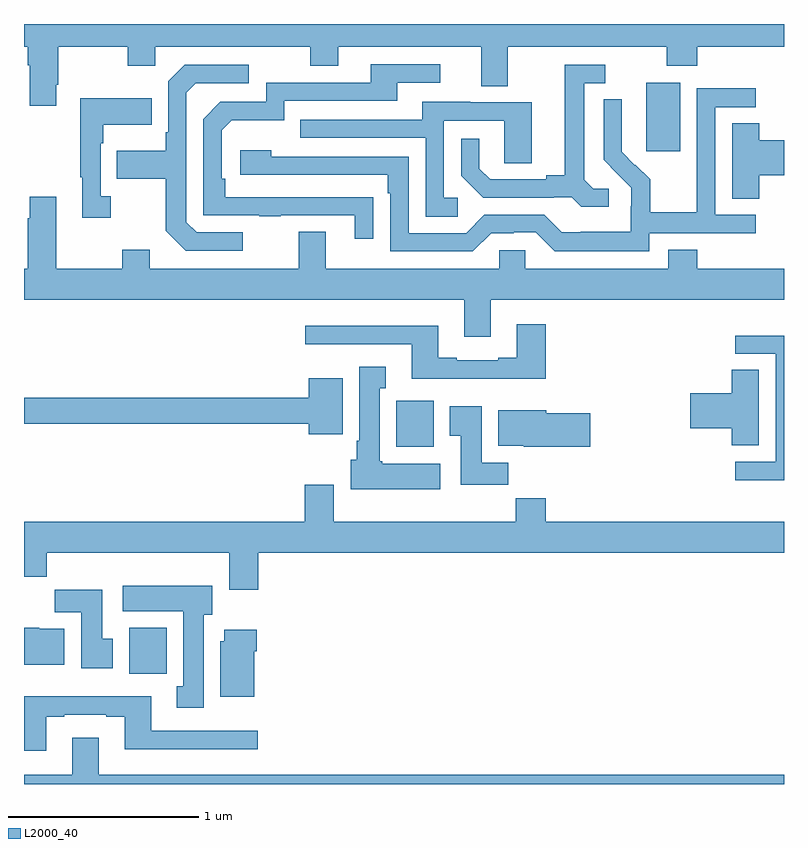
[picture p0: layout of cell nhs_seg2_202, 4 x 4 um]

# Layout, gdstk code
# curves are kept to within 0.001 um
import gdstk
lib = gdstk.Library(unit=1e-6, precision=1e-09)
def R(c, l, rs):  # rectangles x0, y0, x1, y1
    for r in rs: c.add(gdstk.rectangle(r[:2], r[2:], *l))
def P(c, l, *ps):  # polygons
    for p in ps: c.add(gdstk.Polygon(p, *l))
L2000_40 = (2000, 40)

nhs_seg2_202 = lib.new_cell('nhs_seg2_202')
R(nhs_seg2_202, L2000_40, [(121.553,600.38,121.75,600.622), (122.96,601.574,123.157,601.816), (124.274,603.129,124.453,603.49)])
P(nhs_seg2_202, L2000_40, [(121.171,603.481),(121.179,603.481),(121.179,603.68),(121.546,603.68),(121.546,603.581),(121.692,603.581),(121.692,603.68),(122.506,603.68),(122.506,603.581),(122.653,603.581),(122.653,603.68),(123.407,603.68),(123.407,603.472),(123.547,603.472),(123.547,603.68),(124.384,603.68),(124.384,603.581),(124.544,603.581),(124.544,603.68),(125,603.68),(125,603.8),(121,603.8),(121,603.68),(121.019,603.68),(121.019,603.584),(121.031,603.584),(121.031,603.369),(121.171,603.369)],
  [(122.837,602.888),(122.06,602.889),(122.06,602.986),(122.04,602.986),(122.04,603.24),(122.093,603.293),(122.37,603.293),(122.37,603.396),(122.965,603.396),(122.965,603.492),(123.19,603.492),(123.19,603.588),(122.825,603.588),(122.825,603.492),(122.274,603.492),(122.274,603.39),(122.034,603.39),(121.944,603.3),(121.944,602.793),(122.239,602.793),(122.239,602.788),(122.351,602.788),(122.351,602.793),(122.741,602.793),(122.741,602.67),(122.837,602.67)],
  [(124.078,602.934),(123.996,602.934),(123.949,602.981),(123.949,603.489),(124.06,603.489),(124.06,603.585),(123.845,603.585),(123.845,603.005),(123.749,603.005),(123.749,602.982),(123.454,602.982),(123.397,603.039),(123.397,603.196),(123.3,603.196),(123.3,603.002),(123.416,602.886),(123.788,602.886),(123.788,602.889),(123.882,602.889),(123.934,602.837),(124.078,602.837)],
  [(122.152,602.703),(121.908,602.703),(121.854,602.757),(121.854,603.438),(121.905,603.489),(122.182,603.489),(122.182,603.585),(121.845,603.585),(121.758,603.498),(121.758,603.229),(121.746,603.229),(121.746,603.133),(121.489,603.133),(121.489,602.986),(121.746,602.986),(121.746,602.713),(121.851,602.607),(122.152,602.607)],
  [(124.29,602.7),(124.852,602.7),(124.852,602.796),(124.638,602.796),(124.638,603.363),(124.852,603.363),(124.852,603.462),(124.542,603.462),(124.542,603.032),(124.54,603.032),(124.54,602.809),(124.295,602.809),(124.295,602.983),(124.218,603.06),(124.215,603.057),(124.145,603.128),(124.146,603.404),(124.05,603.404),(124.05,603.086),(124.196,602.938),(124.196,602.841),(124.194,602.841),(124.194,602.707),(123.931,602.707),(123.931,602.703),(123.831,602.703),(123.738,602.796),(123.423,602.796),(123.327,602.7),(123.024,602.7),(123.024,603.102),(122.3,603.102),(122.3,603.136),(122.139,603.136),(122.139,603.006),(122.915,603.006),(122.915,602.909),(122.928,602.909),(122.928,602.604),(123.363,602.604),(123.459,602.7),(123.578,602.7),(123.578,602.703),(123.693,602.703),(123.793,602.603),(124.29,602.603)],
  [(121.456,602.894),(121.404,602.894),(121.404,603.173),(121.417,603.173),(121.417,603.269),(121.673,603.269),(121.673,603.409),(121.296,603.409),(121.296,602.993),(121.307,602.993),(121.307,602.781),(121.456,602.781)],
  [(123.283,602.886),(123.21,602.886),(123.21,603.291),(123.528,603.291),(123.528,603.067),(123.673,603.067),(123.673,603.387),(123.349,603.387),(123.349,603.391),(123.095,603.391),(123.095,603.297),(122.455,603.297),(122.455,603.201),(123.114,603.201),(123.114,602.785),(123.283,602.785)],
  [(124.871,603.005),(125,603.005),(125,603.188),(124.871,603.188),(124.871,603.278),(124.727,603.278),(124.727,602.881),(124.871,602.881)],
  [(123.457,602.348),(125,602.348),(125,602.512),(124.544,602.512),(124.544,602.611),(124.391,602.611),(124.391,602.512),(123.639,602.512),(123.639,602.61),(123.501,602.61),(123.501,602.512),(122.587,602.512),(122.587,602.707),(122.447,602.707),(122.447,602.512),(121.663,602.512),(121.663,602.611),(121.516,602.611),(121.516,602.512),(121.171,602.512),(121.171,602.89),(121.031,602.89),(121.031,602.777),(121.019,602.777),(121.019,602.512),(121,602.512),(121,602.348),(123.317,602.348),(123.317,602.154),(123.457,602.154)],
  [(123.746,602.221),(123.593,602.221),(123.593,602.044),(123.497,602.044),(123.497,602.031),(123.277,602.031),(123.277,602.044),(123.181,602.044),(123.181,602.212),(122.481,602.212),(122.481,602.115),(123.041,602.115),(123.041,601.934),(123.746,601.934)],
  [(125,602.16),(124.743,602.16),(124.743,602.064),(124.956,602.064),(124.956,601.497),(124.743,601.497),(124.743,601.399),(125,601.399)],
  [(123.19,601.486),(122.886,601.486),(122.886,601.5),(122.872,601.5),(122.872,601.883),(122.905,601.883),(122.905,601.996),(122.765,601.996),(122.765,601.606),(122.75,601.606),(122.75,601.506),(122.72,601.506),(122.72,601.352),(123.19,601.352)],
  [(124.867,601.979),(124.724,601.979),(124.724,601.856),(124.506,601.856),(124.506,601.673),(124.724,601.673),(124.724,601.582),(124.867,601.582)],
  [(122.677,601.936),(122.498,601.936),(122.498,601.832),(121,601.832),(121,601.696),(122.498,601.696),(122.498,601.64),(122.677,601.64)],
  [(123.548,601.492),(123.409,601.492),(123.409,601.789),(123.242,601.789),(123.242,601.633),(123.299,601.633),(123.299,601.374),(123.548,601.374)],
  [(123.979,601.751),(123.748,601.751),(123.748,601.768),(123.497,601.768),(123.497,601.58),(123.63,601.58),(123.63,601.574),(123.979,601.574)],
  [(122.234,601.016),(125,601.016),(125,601.18),(123.746,601.18),(123.746,601.304),(123.589,601.304),(123.589,601.18),(122.629,601.18),(122.629,601.375),(122.477,601.375),(122.477,601.18),(121,601.18),(121,600.892),(121.121,600.892),(121.121,601.016),(122.081,601.016),(122.081,600.822),(122.234,600.822)],
  [(121.945,600.69),(121.99,600.69),(121.99,600.844),(121.521,600.844),(121.521,600.71),(121.838,600.71),(121.838,600.314),(121.805,600.314),(121.805,600.201),(121.945,600.201)],
  [(121.468,600.564),(121.411,600.564),(121.411,600.823),(121.162,600.823),(121.162,600.704),(121.301,600.704),(121.301,600.408),(121.468,600.408)],
  [(121.213,600.616),(121.08,600.616),(121.08,600.622),(121,600.622),(121,600.428),(121.213,600.428)],
  [(122.212,600.5),(122.225,600.5),(122.225,600.613),(122.054,600.613),(122.054,600.552),(122.033,600.552),(122.033,600.26),(122.212,600.26)],
  [(121.117,600.153),(121.213,600.153),(121.213,600.165),(121.433,600.165),(121.433,600.153),(121.529,600.153),(121.529,599.984),(122.23,599.984),(122.23,600.081),(121.669,600.081),(121.669,600.262),(121,600.262),(121,599.976),(121.117,599.976)],
  [(125,599.848),(121.393,599.848),(121.393,600.043),(121.253,600.043),(121.253,599.848),(121,599.848),(121,599.8),(125,599.8)])

lib.write_gds('nhs_seg2_202.gds')
